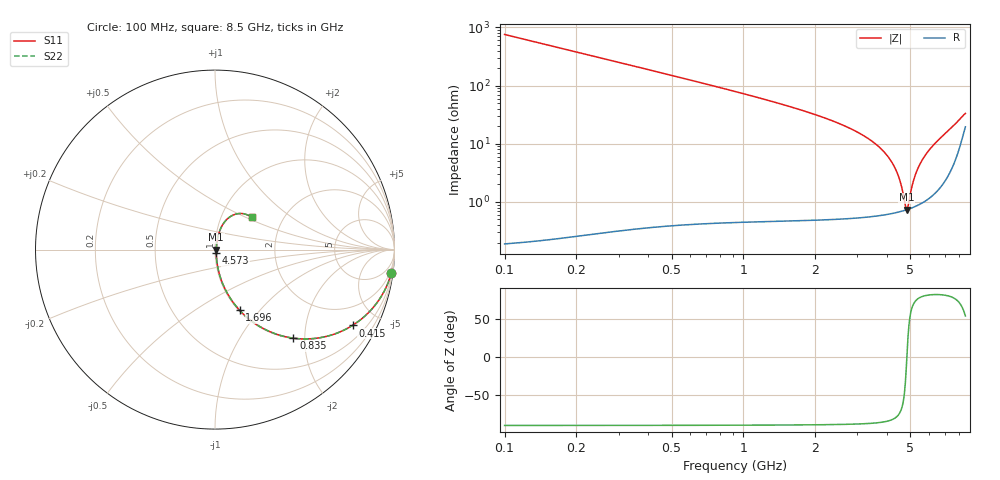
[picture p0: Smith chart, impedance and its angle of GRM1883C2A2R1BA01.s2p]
!Murata Part Number: GRM1883C2A2R1BA01
!These Parameters are Measured in Series Mode Connection
!Data Generated on Mar 30, 2021
!  o--ll--o
!Port1  Port2
!  o------o
!Operation Temp=25[degC], DC Bias Voltage=0[V]
!Freq. Start=100[MHz] Stop=9[GHz] 401[Steps]
# Hz S RI R 50
!Freq.(Hz) S11(Real) S11(Imag) S21(Real) S21(Imag) S12(Real) S12(Imag) S22(Real) S22(Imag)
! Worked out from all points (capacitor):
!   401 points, 100 MHz to 8.5 GHz, reference 50 ohm
!   read as one part in series: C = 2.1 pF near 142 MHz
!   lowest |Z| = 735 mohm at 4.825 GHz (marker M1)
!   series resonance near 4.834 GHz, so ESL is about 520 pH
!   S11 on the Smith chart (normalised r, x): 100 MHz: 1, -15; 415 MHz: 1.01, -3.62; 835 MHz: 1.01, -1.76; 1.696 GHz: 1.01, -0.79; 4.573 GHz: 1.01, -0.04; 8.5 GHz: 1.39, +0.54
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1e8  0.9828 -0.1297  0.0172 0.1297  0.0172 0.1297  0.9828 -0.1297
2.47e8  0.9032 -0.2952  0.0968 0.2952  0.0968 0.2952  0.9032 -0.2952
4.15e8  0.7661 -0.4223  0.2339 0.4223  0.2339 0.4223  0.7661 -0.4223
6.04e8  0.6037 -0.4875  0.3963 0.4875  0.3963 0.4875  0.6037 -0.4875
8.35e8  0.4373 -0.4936  0.5627 0.4936  0.5627 0.4936  0.4373 -0.4936
1.15e9  0.281 -0.4458  0.719 0.4458  0.719 0.4458  0.281 -0.4458
1.507e9  0.1746 -0.3745  0.8254 0.3745  0.8254 0.3745  0.1746 -0.3745
1.696e9  0.1373 -0.3382  0.8627 0.3382  0.8627 0.3382  0.1373 -0.3382
2.914e9  0.0325 -0.1625  0.9675 0.1625  0.9675 0.1625  0.0325 -0.1625
3.754e9  0.0125 -0.0815  0.9875 0.0815  0.9875 0.0815  0.0125 -0.0815
4.3e9  0.00787 -0.0381  0.9921 0.0381  0.9921 0.0381  0.00787 -0.0381
4.573e9  0.00715 -0.0182  0.9929 0.0182  0.9929 0.0182  0.00715 -0.0182
4.762e9  0.00717 -0.00496  0.9928 0.00496  0.9928 0.00496  0.00717 -0.00496
4.825e9  0.00727 -0.000633  0.9927 0.000633  0.9927 0.000633  0.00727 -0.000633
4.888e9  0.00741 0.00366  0.9926 -0.00366  0.9926 -0.00366  0.00741 0.00366
5.056e9  0.008 0.0149  0.992 -0.0149  0.992 -0.0149  0.008 0.0149
5.224e9  0.0089 0.026  0.9911 -0.026  0.9911 -0.026  0.0089 0.026
5.434e9  0.0104 0.0396  0.9896 -0.0396  0.9896 -0.0396  0.0104 0.0396
5.707e9  0.0132 0.0569  0.9868 -0.0569  0.9868 -0.0569  0.0132 0.0569
6.274e9  0.022 0.0925  0.978 -0.0925  0.978 -0.0925  0.022 0.0925
7.114e9  0.0476 0.1464  0.9524 -0.1464  0.9524 -0.1464  0.0476 0.1464
8.5e9  0.2036 0.1791  0.7964 -0.1791  0.7964 -0.1791  0.2036 0.1791
